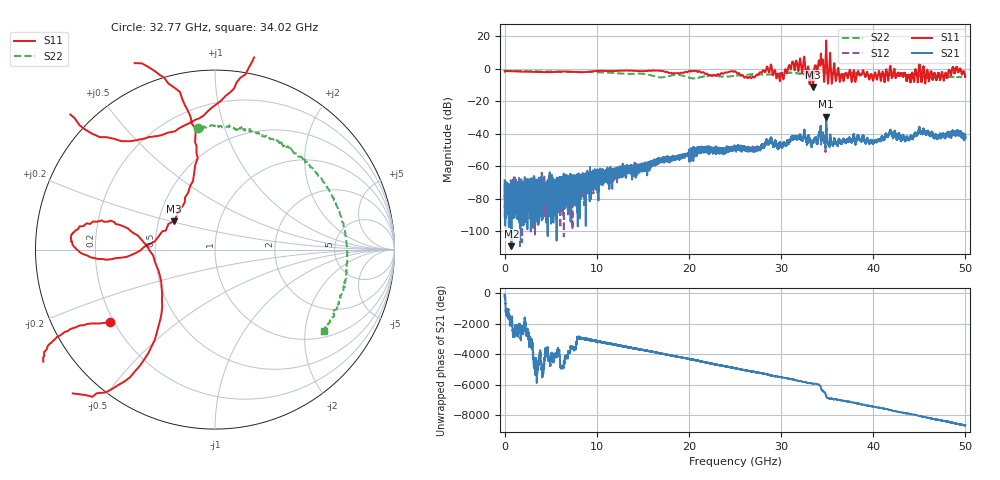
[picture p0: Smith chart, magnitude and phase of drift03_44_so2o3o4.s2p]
!Created with skrf (http://scikit-rf.org).
# Hz S RI R 50.0
!freq ReS11 ImS11 ReS21 ImS21 ReS12 ImS12 ReS22 ImS22
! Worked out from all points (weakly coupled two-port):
!   10001 points, 300 kHz to 50 GHz, reference 50 ohm
!   highest |S21| = -29.41 dB at 34.9 GHz (marker M1); lowest = -109.2 dB at 740.3 MHz (marker M2)
!   lowest |S11| = -11.1 dB at 33.47 GHz (marker M3), VSWR 1.77, Z = 30 + j10.3 ohm
!   |S11| at or under -10 dB: 33.44803 GHz to 33.48584 GHz (37.82 MHz wide, 0.113 % of centre)
!   |S22| runs from -5.9 to -1.3 dB; largest |S21 - S12| = 0.0072
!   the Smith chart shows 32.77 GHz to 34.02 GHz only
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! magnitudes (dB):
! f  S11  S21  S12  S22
! 300 kHz  -1.3  -68.6  -70.8  -2.0
! 265.3 MHz  -1.3  -77.9  -78.8  -1.4
! 740.3 MHz  -1.4  -109.2  -74.3  -1.5
! 5.375 GHz  -2.0  -76.6  -74.0  -1.6
! 8.335 GHz  -2.2  -68.2  -65.9  -1.9
! 16.67 GHz  -1.1  -55.8  -56.3  -5.2
! 25 GHz  -1.5  -48.5  -48.0  -4.3
! 26.92 GHz  -4.9  -48.9  -48.9  -3.5
! 28.73 GHz  -2.2  -44.8  -45.3  -3.5
! 30.06 GHz  -2.5  -48.4  -47.4  -2.8
! 31.87 GHz  -1.4  -41.7  -41.5  -2.9
! 33.34 GHz  -2.1  -46.8  -48.2  -2.9
! 33.47 GHz  -11.1  -44.9  -44.7  -2.8
! 34.3 GHz  7.7  -35.3  -35.1  -2.3
! 34.9 GHz  17.4  -29.4  -31.2  -2.4
! 36.58 GHz  -3.4  -46.0  -46.1  -3.5
! 40.18 GHz  -2.4  -44.2  -43.8  -3.7
! 41.67 GHz  -5.5  -40.2  -40.5  -3.7
! 43.84 GHz  -3.9  -43.8  -43.7  -3.8
! 45.22 GHz  -7.6  -39.9  -39.5  -4.6
! 49.21 GHz  -1.9  -38.6  -39.1  -5.2
! 50 GHz  -4.8  -42.4  -41.6  -5.0
